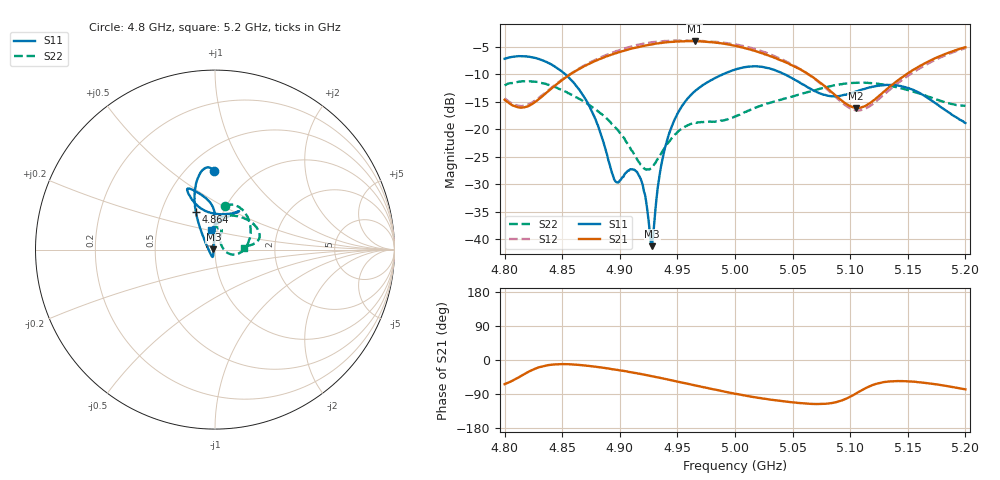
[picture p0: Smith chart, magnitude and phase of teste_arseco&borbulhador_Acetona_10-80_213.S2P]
! Network Analyzer HP8722D
! Hewlett-Packard
! Data name: Linha & Wilkinson
! Saver's name: Rodrigo Anjos
! Comments: Teste da utilização de aquisição
! continua pelo VNA HP8722D
! Time and date: 25/4/2025 17:02
!  Frequency  S11  S21  S12  S22
# HZ  S  MA R 50
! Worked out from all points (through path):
!   401 points, 4.8 GHz to 5.2 GHz, reference 50 ohm
!   highest |S21| = -3.99 dB at 4.965 GHz (marker M1); lowest = -16.2 dB at 5.105 GHz (marker M2)
!   lowest |S11| = -41.3 dB at 4.928 GHz (marker M3), VSWR 1.02, Z = 49.2 + j0.186 ohm
!   |S11| at or under -10 dB: 4.852 GHz to 4.99 GHz (137.5 MHz wide, 2.79 % of centre); 5.043 GHz to end of sweep
!   |S22| runs from -27.4 to -11.3 dB; largest |S21 - S12| = 1.2
!   S11 on the Smith chart (normalised r, x): 4.8 GHz: 0.67, +0.72; 4.864 GHz: 0.75, +0.33; 5.2 GHz: 0.93, +0.21
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4.8e9  0.4357 91.0  0.1849 -63.6  0.1901 69.8  0.2496 77.0
4.82e9  0.4555 97.2  0.1609 -32.3  0.167 98.6  0.2732 61.4
4.845e9  0.3615 107.6  0.2546 -11.3  0.2578 119.5  0.2384 34.3
4.864e9  0.2342 117.0  0.349 -12.8  0.3521 121.1  0.1898 12.2
4.867e9  0.2114 118.7  0.3623 -13.8  0.367 120.8  0.1828 8.7
4.88e9  0.1143 129.0  0.4219 -18.3  0.4321 118.3  0.1483 -4.9
4.896e9  0.03368 -169.7  0.4866 -25.2  0.5055 113.2  0.1039 -15.4
4.91e9  0.04317 -109.4  0.5388 -32.3  0.5621 107.1  0.06431 -12.6
4.917e9  0.03748 -106.5  0.5607 -36.1  0.5867 103.5  0.04967 -0.2
4.921e9  0.02714 -110.9  0.5715 -38.7  0.5988 101.4  0.04407 13.1
4.928e9  0.008641 167.3  0.5888 -42.8  0.6156 97.1  0.04467 40.8
4.934e9  0.03518 100.8  0.6026 -46.6  0.6264 93.2  0.05611 57.3
4.939e9  0.06636 94.4  0.6125 -49.7  0.6327 90.1  0.06795 65.0
4.946e9  0.1116 90.6  0.6212 -54.4  0.6356 85.7  0.08519 69.2
4.965e9  0.22 91.4  0.6316 -66.9  0.635 73.5  0.1145 70.8
5e9  0.3475 109.3  0.572 -89.1  0.5914 50.8  0.1306 87.9
5.031e9  0.3531 115.4  0.4592 -104.7  0.4762 33.3  0.1746 84.4
5.067e9  0.2278 105.7  0.2997 -115.8  0.2972 23.6  0.2222 57.2
5.105e9  0.2201 66.0  0.1554 -88.6  0.1484 54.5  0.2631 25.6
5.134e9  0.2517 58.0  0.2409 -56.6  0.2264 88.8  0.248 12.4
5.169e9  0.187 70.9  0.4176 -62.0  0.401 84.8  0.1955 6.8
5.2e9  0.1136 101.2  0.5536 -77.4  0.5436 70.2  0.1622 3.7
